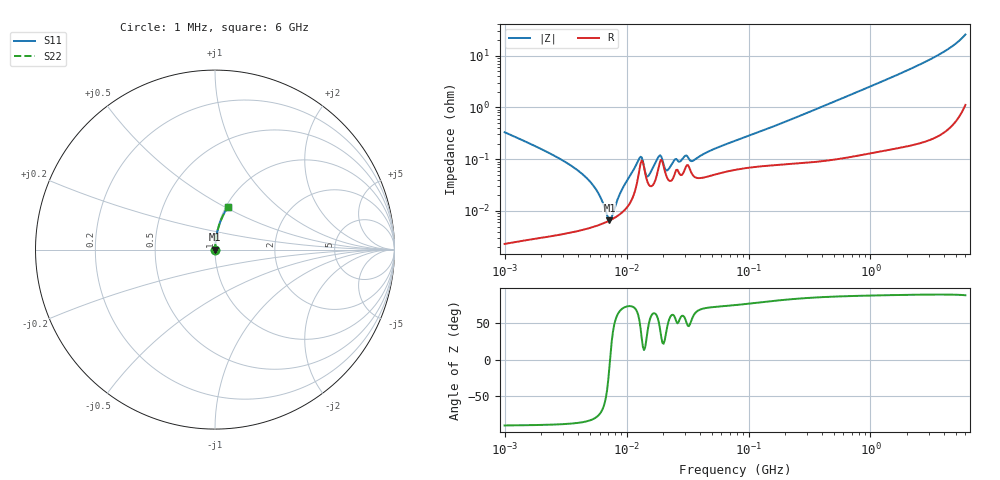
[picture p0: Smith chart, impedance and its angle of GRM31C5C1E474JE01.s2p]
!Murata Part Number: GRM31C5C1E474JE01
!These Parameters are Measured in Series Mode Connection
!Data Generated on Mar 30, 2021
!  o--ll--o
!Port1  Port2
!  o------o
!Operation Temp=25[degC], DC Bias Voltage=0[V]
!Freq. Start=1000[kHz] Stop=6[GHz] 401[Steps]
# Hz S RI R 50
!Freq.(Hz) S11(Real) S11(Imag) S21(Real) S21(Imag) S12(Real) S12(Imag) S22(Real) S22(Imag)
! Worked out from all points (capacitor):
!   401 points, 1 MHz to 6 GHz, reference 50 ohm
!   read as one part in series: C = 471 nF near 1.044 MHz
!   lowest |Z| = 6.62 mohm at 7.237 MHz (marker M1)
!   series resonance near 7.32 MHz, so ESL is about 1 nH
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1000000  3.41e-05 -0.00332  1 0.00332  1 0.00332  3.41e-05 -0.00332
2492906  3.45e-05 -0.0012  1 0.0012  1 0.0012  3.45e-05 -0.0012
4293785  4.29e-05 -0.000525  1 0.000525  1 0.000525  4.29e-05 -0.000525
5336962  4.93e-05 -0.000306  1 0.000306  1 0.000306  4.93e-05 -0.000306
6633579  5.94e-05 -9.61e-05  0.9999 9.61e-05  0.9999 9.61e-05  5.94e-05 -9.61e-05
7236514  6.52e-05 -1.13e-05  0.9999 1.13e-05  0.9999 1.13e-05  6.52e-05 -1.13e-05
7894251  7.28e-05 7.63e-05  0.9999 -7.63e-05  0.9999 -7.63e-05  7.28e-05 7.63e-05
9192393  9.37e-05 0.000245  0.9999 -0.000245  0.9999 -0.000245  9.37e-05 0.000245
1.273824e7  0.000623 0.000835  0.9994 -0.000835  0.9994 -0.000835  0.000623 0.000835
1.330454e7  0.000945 0.000535  0.9991 -0.000535  0.9991 -0.000535  0.000945 0.000535
1.451381e7  0.000432 0.000214  0.9996 -0.000214  0.9996 -0.000214  0.000432 0.000214
1.515906e7  0.000326 0.000353  0.9997 -0.000353  0.9997 -0.000353  0.000326 0.000353
1.843659e7  0.00074 0.000873  0.9993 -0.000873  0.9993 -0.000873  0.00074 0.000873
2.146833e7  0.000439 0.000414  0.9996 -0.000414  0.9996 -0.000414  0.000439 0.000414
2.499862e7  0.000547 0.000833  0.9995 -0.000833  0.9995 -0.000833  0.000547 0.000833
3.040356e7  0.000682 0.000953  0.9993 -0.000953  0.9993 -0.000953  0.000682 0.000953
3.540316e7  0.000474 0.000817  0.9995 -0.000817  0.9995 -0.000817  0.000474 0.000817
7.745967e7  0.000625 0.00217  0.9994 -0.00217  0.9994 -0.00217  0.000625 0.00217
3.325952e8  0.000945 0.00855  0.9991 -0.00855  0.9991 -0.00855  0.000945 0.00855
1.428092e9  0.00283 0.0363  0.9972 -0.0363  0.9972 -0.0363  0.00283 0.0363
3.638376e9  0.0135 0.1026  0.9865 -0.1026  0.9865 -0.1026  0.0135 0.1026
6e9  0.0706 0.2352  0.9294 -0.2352  0.9294 -0.2352  0.0706 0.2352
